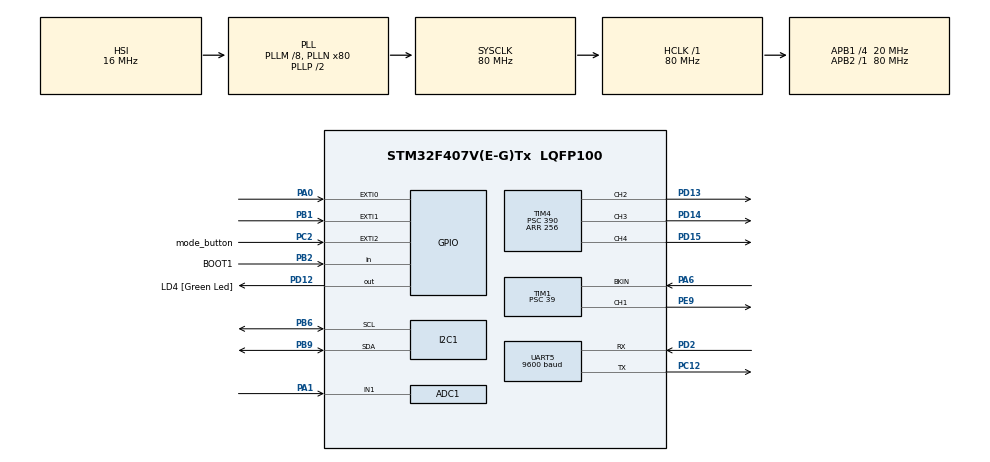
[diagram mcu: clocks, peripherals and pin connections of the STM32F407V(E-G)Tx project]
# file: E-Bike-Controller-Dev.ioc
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ADC1.Channel-0\#ChannelRegularConversion=ADC_CHANNEL_1
ADC1.NbrOfConversionFlag=1
ADC1.Rank-0\#ChannelRegularConversion=1
ADC1.SamplingTime-0\#ChannelRegularConversion=ADC_SAMPLETIME_3CYCLES
ADC1.master=1
Dma.ADC1.2.Direction=DMA_PERIPH_TO_MEMORY
Dma.ADC1.2.FIFOMode=DMA_FIFOMODE_DISABLE
Dma.ADC1.2.Instance=DMA2_Stream0
Dma.ADC1.2.MemDataAlignment=DMA_MDATAALIGN_HALFWORD
Dma.ADC1.2.MemInc=DMA_MINC_ENABLE
Dma.ADC1.2.Mode=DMA_NORMAL
Dma.ADC1.2.PeriphDataAlignment=DMA_PDATAALIGN_HALFWORD
Dma.ADC1.2.PeriphInc=DMA_PINC_DISABLE
Dma.ADC1.2.Priority=DMA_PRIORITY_LOW
Dma.Request0=UART5_RX
Dma.Request1=UART5_TX
Dma.Request2=ADC1
Dma.UART5_RX.0.Direction=DMA_PERIPH_TO_MEMORY
Dma.UART5_RX.0.FIFOMode=DMA_FIFOMODE_DISABLE
Dma.UART5_RX.0.Instance=DMA1_Stream0
Dma.UART5_RX.0.MemDataAlignment=DMA_MDATAALIGN_BYTE
Dma.UART5_RX.0.MemInc=DMA_MINC_ENABLE
Dma.UART5_RX.0.Mode=DMA_NORMAL
Dma.UART5_RX.0.PeriphDataAlignment=DMA_PDATAALIGN_BYTE
Dma.UART5_RX.0.PeriphInc=DMA_PINC_DISABLE
Dma.UART5_RX.0.Priority=DMA_PRIORITY_LOW
Dma.UART5_TX.1.Direction=DMA_MEMORY_TO_PERIPH
Dma.UART5_TX.1.FIFOMode=DMA_FIFOMODE_DISABLE
Dma.UART5_TX.1.Instance=DMA1_Stream7
Dma.UART5_TX.1.MemDataAlignment=DMA_MDATAALIGN_BYTE
Dma.UART5_TX.1.MemInc=DMA_MINC_ENABLE
Dma.UART5_TX.1.Mode=DMA_NORMAL
Dma.UART5_TX.1.PeriphDataAlignment=DMA_PDATAALIGN_BYTE
Dma.UART5_TX.1.PeriphInc=DMA_PINC_DISABLE
Dma.UART5_TX.1.Priority=DMA_PRIORITY_LOW
FREERTOS.Tasks01=Task1,32,128,IMU_Batter,Default,NULL,Dynamic,NULL,NULL;Task2,48,128,ThrottleADC,Default,NULL,Dynamic,NULL,NULL;Task3,24,128,LED_Control,Default,NULL,Dynamic,NULL,NULL;Task04,40,128,WriteBluetooth,Default,NULL,Dynamic,NULL,NULL
Mcu.Family=STM32F4
Mcu.Name=STM32F407V(E-G)Tx
Mcu.Package=LQFP100
NVIC.DMA1_Stream0_IRQn=true\:5\:0\:false\:false\:true\:true\:false\:true\:true
NVIC.DMA1_Stream7_IRQn=true\:5\:0\:false\:false\:true\:true\:false\:true\:true
NVIC.DMA2_Stream0_IRQn=true\:5\:0\:false\:false\:true\:true\:false\:true\:true
NVIC.EXTI0_IRQn=true\:5\:0\:false\:false\:true\:true\:true\:true\:true
NVIC.EXTI1_IRQn=true\:5\:0\:false\:false\:true\:true\:true\:true\:true
NVIC.EXTI2_IRQn=true\:5\:0\:false\:false\:true\:true\:true\:true\:true
NVIC.PriorityGroup=NVIC_PRIORITYGROUP_4
NVIC.TIM1_BRK_TIM9_IRQn=true\:5\:0\:false\:false\:true\:true\:true\:true\:true
NVIC.TIM1_CC_IRQn=true\:5\:0\:false\:false\:true\:true\:true\:true\:true
NVIC.TIM4_IRQn=true\:5\:0\:false\:false\:true\:true\:true\:true\:true
NVIC.TIM6_DAC_IRQn=true\:15\:0\:false\:false\:true\:false\:false\:true\:true
NVIC.TimeBase=TIM6_DAC_IRQn
NVIC.TimeBaseIP=TIM6
NVIC.UART5_IRQn=true\:5\:0\:false\:false\:true\:true\:true\:true\:true
PA0-WKUP.Signal=GPXTI0
PA1.Signal=ADCx_IN1
PA13.GPIO_Label=SWDIO
PA13.Mode=Serial_Wire
PA13.Signal=SYS_JTMS-SWDIO
PA14.GPIO_Label=SWCLK
PA14.Mode=Serial_Wire
PA14.Signal=SYS_JTCK-SWCLK
PA6.GPIO_PuPd=GPIO_NOPULL
PA6.Mode=Activate-Break-Input
PA6.Signal=TIM1_BKIN
PB1.GPIO_ModeDefaultEXTI=GPIO_MODE_IT_FALLING
PB1.Signal=GPXTI1
PB10.GPIO_Label=CLK_IN [MP45DT02_CLK]
PB10.GPIO_Mode=GPIO_MODE_AF_PP
PB10.GPIO_PuPd=GPIO_NOPULL
PB10.GPIO_Speed=GPIO_SPEED_FREQ_LOW
PB10.Signal=I2S2_CK
PB2.GPIO_Label=BOOT1
PB2.GPIO_Mode=GPIO_MODE_INPUT
PB2.GPIO_PuPd=GPIO_NOPULL
PB2.Signal=GPIO_Input
PB6.GPIO_Mode=GPIO_MODE_AF_OD
PB6.GPIO_Pu=GPIO_NOPULL
PB6.GPIO_PuPd=GPIO_NOPULL
PB6.GPIO_Speed=GPIO_SPEED_FREQ_VERY_HIGH
PB6.Mode=I2C
PB6.Signal=I2C1_SCL
PB9.GPIO_Mode=GPIO_MODE_AF_OD
PB9.GPIO_Pu=GPIO_NOPULL
PB9.GPIO_PuPd=GPIO_NOPULL
PB9.GPIO_Speed=GPIO_SPEED_FREQ_VERY_HIGH
PB9.Mode=I2C
PB9.Signal=I2C1_SDA
PC12.Mode=Asynchronous
PC12.Signal=UART5_TX
PC14-OSC32_IN.GPIO_Label=PC14-OSC32_IN
PC14-OSC32_IN.Mode=LSE-External-Clock-Source
PC14-OSC32_IN.Signal=RCC_OSC32_IN
PC15-OSC32_OUT.GPIO_Label=PC15-OSC32_OUT
PC15-OSC32_OUT.Mode=LSE-External-Clock-Source
PC15-OSC32_OUT.Signal=RCC_OSC32_OUT
PC2.GPIO_Label=mode_button
PC2.GPIO_PuPd=GPIO_PULLDOWN
PC2.Signal=GPXTI2
PD12.GPIO_Label=LD4 [Green Led]
PD12.GPIO_PuPd=GPIO_NOPULL
PD12.GPIO_Speed=GPIO_SPEED_FREQ_LOW
PD12.Signal=GPIO_Output
PD13.Signal=S_TIM4_CH2
PD14.Signal=S_TIM4_CH3
PD15.Signal=S_TIM4_CH4
PD2.Mode=Asynchronous
PD2.Signal=UART5_RX
PE9.Signal=S_TIM1_CH1
PH0-OSC_IN.GPIO_Label=PH0-OSC_IN
PH0-OSC_IN.Mode=HSE-External-Clock-Source
PH0-OSC_IN.Signal=RCC_OSC_IN
PH1-OSC_OUT.GPIO_Label=PH1-OSC_OUT
PH1-OSC_OUT.Mode=HSE-External-Clock-Source
PH1-OSC_OUT.Signal=RCC_OSC_OUT
ProjectManager.HeapSize=0x200
ProjectManager.StackSize=0x400
ProjectManager.TargetToolchain=STM32CubeIDE
RCC.48MHZClocksFreq_Value=22857142.85714286
RCC.AHBFreq_Value=80000000
RCC.APB1CLKDivider=RCC_HCLK_DIV4
RCC.APB1Freq_Value=20000000
RCC.APB1TimFreq_Value=40000000
RCC.APB2Freq_Value=80000000
RCC.APB2TimFreq_Value=80000000
RCC.CortexFreq_Value=80000000
RCC.HCLKFreq_Value=80000000
RCC.HSE_VALUE=8000000
RCC.HSI_VALUE=16000000
RCC.LSE_VALUE=32768
RCC.PLLM=8
RCC.PLLN=80
RCC.PLLQ=7
RCC.SYSCLKFreq_VALUE=80000000
RCC.SYSCLKSource=RCC_SYSCLKSOURCE_PLLCLK
RCC.VCOOutputFreq_Value=160000000
SH.ADCx_IN1.0=ADC1_IN1,IN1
SH.S_TIM1_CH1.0=TIM1_CH1,PWM Generation1 CH1
SH.S_TIM4_CH2.0=TIM4_CH2,PWM Generation2 CH2
SH.S_TIM4_CH3.0=TIM4_CH3,PWM Generation3 CH3
SH.S_TIM4_CH4.0=TIM4_CH4,PWM Generation4 CH4
TIM1.AutoReloadPreload=TIM_AUTORELOAD_PRELOAD_ENABLE
TIM1.AutomaticOutput=TIM_AUTOMATICOUTPUT_ENABLE
TIM1.BreakPolarity=TIM_BREAKPOLARITY_LOW
TIM1.BreakState=TIM_BREAK_ENABLE
TIM1.Channel-PWM\ Generation1\ CH1=TIM_CHANNEL_1
TIM1.ClockDivision=TIM_CLOCKDIVISION_DIV1
TIM1.OffStateRunMode=TIM_OSSR_DISABLE
TIM1.Period=40960
TIM1.Prescaler=39
TIM1.Pulse-PWM\ Generation1\ CH1=0
TIM4.AutoReloadPreload=TIM_AUTORELOAD_PRELOAD_ENABLE
TIM4.Channel-PWM\ Generation2\ CH2=TIM_CHANNEL_2
TIM4.Channel-PWM\ Generation3\ CH3=TIM_CHANNEL_3
TIM4.Channel-PWM\ Generation4\ CH4=TIM_CHANNEL_4
TIM4.OCMode_PWM-PWM\ Generation4\ CH4=TIM_OCMODE_PWM1
TIM4.Period=256
TIM4.Prescaler=390
TIM4.Pulse-PWM\ Generation4\ CH4=0
UART5.BaudRate=9600
UART5.OverSampling=UART_OVERSAMPLING_8
UART5.VirtualMode=Asynchronous
VP_FREERTOS_VS_CMSIS_V2.Mode=CMSIS_V2
VP_SYS_VS_tim6.Mode=TIM6
VP_TIM1_VS_ClockSourceINT.Mode=Internal
VP_TIM4_VS_ClockSourceINT.Mode=Internal
board=STM32F407G-DISC1

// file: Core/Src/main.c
/* USER CODE BEGIN Header */
/**
  ******************************************************************************
  * @file           : main.c
  * @brief          : Main program body
  ******************************************************************************
  * @attention
  *
  * Copyright (c) 2023 STMicroelectronics.
  * All rights reserved.
  *
  * This software is licensed under terms that can be found in the LICENSE file
  * in the root directory of this software component.
  * If no LICENSE file comes with this software, it is provided AS-IS.
  *
  ******************************************************************************
  */
/* USER CODE END Header */
#include "main.h"
#include "cmsis_os.h"

/* USER CODE BEGIN Includes */
#include <string.h>
//#include <stdio.h>
/* USER CODE END Includes */

ADC_HandleTypeDef hadc1;
DMA_HandleTypeDef hdma_adc1;

I2C_HandleTypeDef hi2c1;

TIM_HandleTypeDef htim1;
TIM_HandleTypeDef htim4;

UART_HandleTypeDef huart5;
DMA_HandleTypeDef hdma_uart5_rx;
DMA_HandleTypeDef hdma_uart5_tx;

/* Definitions for Task1 */
osThreadId_t Task1Handle;
const osThreadAttr_t Task1_attributes = {
  .name = "Task1",
  .stack_size = 128 * 4,
  .priority = (osPriority_t) osPriorityAboveNormal,
};
/* Definitions for Task2 */
osThreadId_t Task2Handle;
const osThreadAttr_t Task2_attributes = {
  .name = "Task2",
  .stack_size = 128 * 4,
  .priority = (osPriority_t) osPriorityRealtime,
};
/* Definitions for Task3 */
osThreadId_t Task3Handle;
const osThreadAttr_t Task3_attributes = {
  .name = "Task3",
  .stack_size = 128 * 4,
  .priority = (osPriority_t) osPriorityNormal,
};
/* Definitions for Task04 */
osThreadId_t Task04Handle;
const osThreadAttr_t Task04_attributes = {
  .name = "Task04",
  .stack_size = 128 * 4,
  .priority = (osPriority_t) osPriorityHigh,
};

void SystemClock_Config(void);
static void MX_GPIO_Init(void);
static void MX_DMA_Init(void);
static void MX_I2C1_Init(void);
static void MX_UART5_Init(void);
static void MX_TIM4_Init(void);
static void MX_ADC1_Init(void);
static void MX_TIM1_Init(void);
void IMU_Batter(void *argument);
void ThrottleADC(void *argument);
void LED_Control(void *argument);
void WriteBluetooth(void *argument);

/* USER CODE BEGIN 0 */

// IMU addresses
//static const uint8_t IMU_ADDR = 0x4A << 1;

// Bluetooth variables
uint8_t rx_char;
uint8_t UART4_rxBuffer[20] = {0};
int i = 0;

// Throttle variables
uint16_t throttle;

// Speedometer variables
uint32_t speed = 0;
uint32_t tick = 0;
const float hrs = 2.7777777777778E-7;
const float wheel_circum_miles = (2070/1609344)/6;

// LED variables
uint8_t red = 0;
uint8_t green = 0;
uint8_t blue = 0;
// 0 - 0
// 1 - 85
// 2 - 170
// 3 - 255

// Mode flags
uint8_t mode = 0;
uint8_t mode_changed = 0;
// mode 0 - idle
// mode 1 - throttle
// mode 2 - cruise

void HAL_UART_RxCpltCallback(UART_HandleTypeDef *huart)
{
	if(huart->Instance == huart5.Instance)
	{
		if(rx_char == '\r' || rx_char == '\n')
		{
			HAL_UART_Receive_IT(&huart5, &rx_char, 1);
			return;
		}

		// Retrieve mode and set flag
		uint8_t new_mode = rx_char & 0x03;
		if (new_mode != mode)
		{
			mode = new_mode;
			mode_changed = 1;
		}
//		mode = rx_char & 0x03;

		// Retrieve red
		red = (rx_char >> 6) & 0x03;

		// Retrieve green
		green = (rx_char >> 4) & 0x03;

		// Retrieve blue
		blue = (rx_char >> 2) & 0x03;

//		if(rx_char == '1')
//		{
////			rx_char = '\0';
//			HAL_GPIO_TogglePin(GPIOD, GPIO_PIN_15);
//			HAL_GPIO_TogglePin(GPIOD, GPIO_PIN_14);
//			HAL_GPIO_TogglePin(GPIOD, GPIO_PIN_13);
//			HAL_GPIO_TogglePin(GPIOD, GPIO_PIN_12);
//		}
//		else if (rx_char == '0')
//		{
////			rx_char = '\0';
//			HAL_GPIO_WritePin(GPIOD, GPIO_PIN_15, GPIO_PIN_RESET);
//			memset(UART4_rxBuffer, 0, i);
//			i=0;
//
//		}
//		else if (rx_char == 'a')
//		{
////			rx_char = '\0';
//			HAL_GPIO_TogglePin(GPIOD, GPIO_PIN_15);
//			HAL_GPIO_TogglePin(GPIOD, GPIO_PIN_14);
//			HAL_GPIO_TogglePin(GPIOD, GPIO_PIN_13);
//			HAL_GPIO_TogglePin(GPIOD, GPIO_PIN_12);
//		}
//		else
//		{
//
//		}

		HAL_UART_Receive_IT(&huart5, &rx_char, 1);
	}
}

void HAL_GPIO_EXTI_Callback(uint16_t GPIO_PIN)
{
	if (GPIO_PIN == GPIO_PIN_1)
	{
//		HAL_GPIO_TogglePin(GPIOD, GPIO_PIN_14);
		// Calculate speed
		speed = HAL_GetTick() - tick;
		tick = HAL_GetTick();
	}
	else if (GPIO_PIN == GPIO_PIN_2 || GPIO_PIN == GPIO_PIN_0)
	{
		mode++;
		if (mode == 2)
		{
			mode = 0;
		}
		mode_changed = 1;
	}
	else
	{
		__NOP();
	}
}

uint8_t convert_color(uint8_t color)
{
	switch (color)
	{
		case 0:
			return 0;
		break;
		case 1:
			return 85;
		break;
		case 2:
			return 170;
		break;
		case 3:
			return 255;
		break;
		default:
			return 0;
		break;
	}

	return 0;
}

void mode_change_ack(uint8_t changed_mode)
{
	if (changed_mode == 1)
	{
		__HAL_TIM_SET_COMPARE(&htim4, TIM_CHANNEL_2, 255);
		__HAL_TIM_SET_COMPARE(&htim4, TIM_CHANNEL_3, 255);
		__HAL_TIM_SET_COMPARE(&htim4, TIM_CHANNEL_4, 255);
		osDelay(500);
		__HAL_TIM_SET_COMPARE(&htim4, TIM_CHANNEL_2, 0);
		__HAL_TIM_SET_COMPARE(&htim4, TIM_CHANNEL_3, 0);
		__HAL_TIM_SET_COMPARE(&htim4, TIM_CHANNEL_4, 0);
		osDelay(500);
		__HAL_TIM_SET_COMPARE(&htim4, TIM_CHANNEL_2, 255);
		__HAL_TIM_SET_COMPARE(&htim4, TIM_CHANNEL_3, 255);
		__HAL_TIM_SET_COMPARE(&htim4, TIM_CHANNEL_4, 255);
		osDelay(500);
		__HAL_TIM_SET_COMPARE(&htim4, TIM_CHANNEL_2, 0);
		__HAL_TIM_SET_COMPARE(&htim4, TIM_CHANNEL_3, 0);
		__HAL_TIM_SET_COMPARE(&htim4, TIM_CHANNEL_4, 0);
		osDelay(500);

		mode_changed = 0;
	}
}

/* USER CODE END 0 */

int main(void)
{

  /* MCU Configuration--------------------------------------------------------*/

  /* Reset of all peripherals, Initializes the Flash interface and the Systick. */
  HAL_Init();

  /* Configure the system clock */
  SystemClock_Config();

  /* Initialize all configured peripherals */
  MX_GPIO_Init();
  MX_DMA_Init();
  MX_I2C1_Init();
  MX_UART5_Init();
  MX_TIM4_Init();
  MX_ADC1_Init();
  MX_TIM1_Init();
  /* USER CODE BEGIN 2 */
//  HAL_UART_Receive_DMA(&huart5, UART4_rxBuffer, sizeof(UART4_rxBuffer));
  HAL_UART_Receive_IT(&huart5, &rx_char, 1);

  /* USER CODE END 2 */

  /* Init scheduler */
  osKernelInitialize();

  /* Create the thread(s) */
  /* creation of Task1 */
  Task1Handle = osThreadNew(IMU_Batter, NULL, &Task1_attributes);

  /* creation of Task2 */
  Task2Handle = osThreadNew(ThrottleADC, NULL, &Task2_attributes);

  /* creation of Task3 */
  Task3Handle = osThreadNew(LED_Control, NULL, &Task3_attributes);

  /* creation of Task04 */
  Task04Handle = osThreadNew(WriteBluetooth, NULL, &Task04_attributes);

  /* Start scheduler */
  osKernelStart();
  /* We should never get here as control is now taken by the scheduler */
  /* Infinite loop */
  while (1)
  {

  }
}

void SystemClock_Config(void)
{
  RCC_OscInitTypeDef RCC_OscInitStruct = {0};
  RCC_ClkInitTypeDef RCC_ClkInitStruct = {0};

  /** Configure the main internal regulator output voltage
  */
  __HAL_RCC_PWR_CLK_ENABLE();
  __HAL_PWR_VOLTAGESCALING_CONFIG(PWR_REGULATOR_VOLTAGE_SCALE1);

  /** Initializes the RCC Oscillators according to the specified parameters
  * in the RCC_OscInitTypeDef structure.
  */
  RCC_OscInitStruct.OscillatorType = RCC_OSCILLATORTYPE_HSI;
  RCC_OscInitStruct.HSIState = RCC_HSI_ON;
  RCC_OscInitStruct.HSICalibrationValue = RCC_HSICALIBRATION_DEFAULT;
  RCC_OscInitStruct.PLL.PLLState = RCC_PLL_ON;
  RCC_OscInitStruct.PLL.PLLSource = RCC_PLLSOURCE_HSI;
  RCC_OscInitStruct.PLL.PLLM = 8;
  RCC_OscInitStruct.PLL.PLLN = 80;
  RCC_OscInitStruct.PLL.PLLP = RCC_PLLP_DIV2;
  RCC_OscInitStruct.PLL.PLLQ = 7;
  if (HAL_RCC_OscConfig(&RCC_OscInitStruct) != HAL_OK)
  {
    Error_Handler();
  }

  /** Initializes the CPU, AHB and APB buses clocks
  */
  RCC_ClkInitStruct.ClockType = RCC_CLOCKTYPE_HCLK|RCC_CLOCKTYPE_SYSCLK
                              |RCC_CLOCKTYPE_PCLK1|RCC_CLOCKTYPE_PCLK2;
  RCC_ClkInitStruct.SYSCLKSource = RCC_SYSCLKSOURCE_PLLCLK;
  RCC_ClkInitStruct.AHBCLKDivider = RCC_SYSCLK_DIV1;
  RCC_ClkInitStruct.APB1CLKDivider = RCC_HCLK_DIV4;
  RCC_ClkInitStruct.APB2CLKDivider = RCC_HCLK_DIV1;

  if (HAL_RCC_ClockConfig(&RCC_ClkInitStruct, FLASH_LATENCY_2) != HAL_OK)
  {
    Error_Handler();
  }
}

static void MX_ADC1_Init(void)
{

  ADC_ChannelConfTypeDef sConfig = {0};

  /** Configure the global features of the ADC (Clock, Resolution, Data Alignment and number of conversion)
  */
  hadc1.Instance = ADC1;
  hadc1.Init.ClockPrescaler = ADC_CLOCK_SYNC_PCLK_DIV4;
  hadc1.Init.Resolution = ADC_RESOLUTION_12B;
  hadc1.Init.ScanConvMode = DISABLE;
  hadc1.Init.ContinuousConvMode = DISABLE;
  hadc1.Init.DiscontinuousConvMode = DISABLE;
  hadc1.Init.ExternalTrigConvEdge = ADC_EXTERNALTRIGCONVEDGE_NONE;
  hadc1.Init.ExternalTrigConv = ADC_SOFTWARE_START;
  hadc1.Init.DataAlign = ADC_DATAALIGN_RIGHT;
  hadc1.Init.NbrOfConversion = 1;
  hadc1.Init.DMAContinuousRequests = DISABLE;
  hadc1.Init.EOCSelection = ADC_EOC_SINGLE_CONV;
  if (HAL_ADC_Init(&hadc1) != HAL_OK)
  {
    Error_Handler();
  }

  /** Configure for the selected ADC regular channel its corresponding rank in the sequencer and its sample time.
  */
  sConfig.Channel = ADC_CHANNEL_1;
  sConfig.Rank = 1;
  sConfig.SamplingTime = ADC_SAMPLETIME_3CYCLES;
  if (HAL_ADC_ConfigChannel(&hadc1, &sConfig) != HAL_OK)
  {
    Error_Handler();
  }

}

static void MX_I2C1_Init(void)
{

  hi2c1.Instance = I2C1;
  hi2c1.Init.ClockSpeed = 100000;
  hi2c1.Init.DutyCycle = I2C_DUTYCYCLE_2;
  hi2c1.Init.OwnAddress1 = 0;
  hi2c1.Init.AddressingMode = I2C_ADDRESSINGMODE_7BIT;
  hi2c1.Init.DualAddressMode = I2C_DUALADDRESS_DISABLE;
  hi2c1.Init.OwnAddress2 = 0;
  hi2c1.Init.GeneralCallMode = I2C_GENERALCALL_DISABLE;
  hi2c1.Init.NoStretchMode = I2C_NOSTRETCH_DISABLE;
  if (HAL_I2C_Init(&hi2c1) != HAL_OK)
  {
    Error_Handler();
  }

}

static void MX_TIM1_Init(void)
{

  TIM_ClockConfigTypeDef sClockSourceConfig = {0};
  TIM_MasterConfigTypeDef sMasterConfig = {0};
  TIM_OC_InitTypeDef sConfigOC = {0};
  TIM_BreakDeadTimeConfigTypeDef sBreakDeadTimeConfig = {0};

  htim1.Instance = TIM1;
  htim1.Init.Prescaler = 39;
  htim1.Init.CounterMode = TIM_COUNTERMODE_UP;
  htim1.Init.Period = 40960;
  htim1.Init.ClockDivision = TIM_CLOCKDIVISION_DIV1;
  htim1.Init.RepetitionCounter = 0;
  htim1.Init.AutoReloadPreload = TIM_AUTORELOAD_PRELOAD_ENABLE;
  if (HAL_TIM_Base_Init(&htim1) != HAL_OK)
  {
    Error_Handler();
  }
  sClockSourceConfig.ClockSource = TIM_CLOCKSOURCE_INTERNAL;
  if (HAL_TIM_ConfigClockSource(&htim1, &sClockSourceConfig) != HAL_OK)
  {
    Error_Handler();
  }
  if (HAL_TIM_PWM_Init(&htim1) != HAL_OK)
  {
    Error_Handler();
  }
  sMasterConfig.MasterOutputTrigger = TIM_TRGO_RESET;
  sMasterConfig.MasterSlaveMode = TIM_MASTERSLAVEMODE_DISABLE;
  if (HAL_TIMEx_MasterConfigSynchronization(&htim1, &sMasterConfig) != HAL_OK)
  {
    Error_Handler();
  }
  sConfigOC.OCMode = TIM_OCMODE_PWM1;
  sConfigOC.Pulse = 0;
  sConfigOC.OCPolarity = TIM_OCPOLARITY_HIGH;
  sConfigOC.OCNPolarity = TIM_OCNPOLARITY_HIGH;
  sConfigOC.OCFastMode = TIM_OCFAST_DISABLE;
  sConfigOC.OCIdleState = TIM_OCIDLESTATE_RESET;
  sConfigOC.OCNIdleState = TIM_OCNIDLESTATE_RESET;
  if (HAL_TIM_PWM_ConfigChannel(&htim1, &sConfigOC, TIM_CHANNEL_1) != HAL_OK)
  {
    Error_Handler();
  }
  sBreakDeadTimeConfig.OffStateRunMode = TIM_OSSR_DISABLE;
  sBreakDeadTimeConfig.OffStateIDLEMode = TIM_OSSI_DISABLE;
  sBreakDeadTimeConfig.LockLevel = TIM_LOCKLEVEL_OFF;
  sBreakDeadTimeConfig.DeadTime = 0;
  sBreakDeadTimeConfig.BreakState = TIM_BREAK_ENABLE;
  sBreakDeadTimeConfig.BreakPolarity = TIM_BREAKPOLARITY_LOW;
  sBreakDeadTimeConfig.AutomaticOutput = TIM_AUTOMATICOUTPUT_ENABLE;
  if (HAL_TIMEx_ConfigBreakDeadTime(&htim1, &sBreakDeadTimeConfig) != HAL_OK)
  {
    Error_Handler();
  }
  HAL_TIM_MspPostInit(&htim1);

}

static void MX_TIM4_Init(void)
{

  TIM_ClockConfigTypeDef sClockSourceConfig = {0};
  TIM_MasterConfigTypeDef sMasterConfig = {0};
  TIM_OC_InitTypeDef sConfigOC = {0};

  htim4.Instance = TIM4;
  htim4.Init.Prescaler = 390;
  htim4.Init.CounterMode = TIM_COUNTERMODE_UP;
  htim4.Init.Period = 256;
  htim4.Init.ClockDivision = TIM_CLOCKDIVISION_DIV1;
  htim4.Init.AutoReloadPreload = TIM_AUTORELOAD_PRELOAD_ENABLE;
  if (HAL_TIM_Base_Init(&htim4) != HAL_OK)
  {
    Error_Handler();
  }
  sClockSourceConfig.ClockSource = TIM_CLOCKSOURCE_INTERNAL;
  if (HAL_TIM_ConfigClockSource(&htim4, &sClockSourceConfig) != HAL_OK)
  {
    Error_Handler();
  }
  if (HAL_TIM_PWM_Init(&htim4) != HAL_OK)
  {
    Error_Handler();
  }
  sMasterConfig.MasterOutputTrigger = TIM_TRGO_RESET;
  sMasterConfig.MasterSlaveMode = TIM_MASTERSLAVEMODE_DISABLE;
  if (HAL_TIMEx_MasterConfigSynchronization(&htim4, &sMasterConfig) != HAL_OK)
  {
    Error_Handler();
  }
  sConfigOC.OCMode = TIM_OCMODE_PWM1;
  sConfigOC.Pulse = 0;
  sConfigOC.OCPolarity = TIM_OCPOLARITY_HIGH;
  sConfigOC.OCFastMode = TIM_OCFAST_DISABLE;
  if (HAL_TIM_PWM_ConfigChannel(&htim4, &sConfigOC, TIM_CHANNEL_2) != HAL_OK)
  {
    Error_Handler();
  }
  if (HAL_TIM_PWM_ConfigChannel(&htim4, &sConfigOC, TIM_CHANNEL_3) != HAL_OK)
  {
    Error_Handler();
  }
  if (HAL_TIM_PWM_ConfigChannel(&htim4, &sConfigOC, TIM_CHANNEL_4) != HAL_OK)
  {
    Error_Handler();
  }
  HAL_TIM_MspPostInit(&htim4);

}

static void MX_UART5_Init(void)
{

  huart5.Instance = UART5;
  huart5.Init.BaudRate = 9600;
  huart5.Init.WordLength = UART_WORDLENGTH_8B;
  huart5.Init.StopBits = UART_STOPBITS_1;
  huart5.Init.Parity = UART_PARITY_NONE;
  huart5.Init.Mode = UART_MODE_TX_RX;
  huart5.Init.HwFlowCtl = UART_HWCONTROL_NONE;
  huart5.Init.OverSampling = UART_OVERSAMPLING_8;
  if (HAL_UART_Init(&huart5) != HAL_OK)
  {
    Error_Handler();
  }

}

static void MX_DMA_Init(void)
{

  /* DMA controller clock enable */
  __HAL_RCC_DMA1_CLK_ENABLE();
  __HAL_RCC_DMA2_CLK_ENABLE();

  /* DMA interrupt init */
  /* DMA1_Stream0_IRQn interrupt configuration */
  HAL_NVIC_SetPriority(DMA1_Stream0_IRQn, 5, 0);
  HAL_NVIC_EnableIRQ(DMA1_Stream0_IRQn);
  /* DMA1_Stream7_IRQn interrupt configuration */
  HAL_NVIC_SetPriority(DMA1_Stream7_IRQn, 5, 0);
  HAL_NVIC_EnableIRQ(DMA1_Stream7_IRQn);
  /* DMA2_Stream0_IRQn interrupt configuration */
  HAL_NVIC_SetPriority(DMA2_Stream0_IRQn, 5, 0);
  HAL_NVIC_EnableIRQ(DMA2_Stream0_IRQn);

}

static void MX_GPIO_Init(void)
{
  GPIO_InitTypeDef GPIO_InitStruct = {0};

  /* GPIO Ports Clock Enable */
  __HAL_RCC_GPIOC_CLK_ENABLE();
  __HAL_RCC_GPIOH_CLK_ENABLE();
  __HAL_RCC_GPIOA_CLK_ENABLE();
  __HAL_RCC_GPIOB_CLK_ENABLE();
  __HAL_RCC_GPIOE_CLK_ENABLE();
  __HAL_RCC_GPIOD_CLK_ENABLE();

  /*Configure GPIO pin Output Level */
  HAL_GPIO_WritePin(LD4_GPIO_Port, LD4_Pin, GPIO_PIN_RESET);

  /*Configure GPIO pin : mode_button_Pin */
  GPIO_InitStruct.Pin = mode_button_Pin;
  GPIO_InitStruct.Mode = GPIO_MODE_IT_RISING;
  GPIO_InitStruct.Pull = GPIO_PULLDOWN;
  HAL_GPIO_Init(mode_button_GPIO_Port, &GPIO_InitStruct);

  /*Configure GPIO pin : PA0 */
  GPIO_InitStruct.Pin = GPIO_PIN_0;
  GPIO_InitStruct.Mode = GPIO_MODE_IT_RISING;
  GPIO_InitStruct.Pull = GPIO_NOPULL;
  HAL_GPIO_Init(GPIOA, &GPIO_InitStruct);

  /*Configure GPIO pin : PB1 */
  GPIO_InitStruct.Pin = GPIO_PIN_1;
  GPIO_InitStruct.Mode = GPIO_MODE_IT_FALLING;
  GPIO_InitStruct.Pull = GPIO_NOPULL;
  HAL_GPIO_Init(GPIOB, &GPIO_InitStruct);

  /*Configure GPIO pin : BOOT1_Pin */
  GPIO_InitStruct.Pin = BOOT1_Pin;
  GPIO_InitStruct.Mode = GPIO_MODE_INPUT;
  GPIO_InitStruct.Pull = GPIO_NOPULL;
  HAL_GPIO_Init(BOOT1_GPIO_Port, &GPIO_InitStruct);

  /*Configure GPIO pin : CLK_IN_Pin */
  GPIO_InitStruct.Pin = CLK_IN_Pin;
  GPIO_InitStruct.Mode = GPIO_MODE_AF_PP;
  GPIO_InitStruct.Pull = GPIO_NOPULL;
  GPIO_InitStruct.Speed = GPIO_SPEED_FREQ_LOW;
  GPIO_InitStruct.Alternate = GPIO_AF5_SPI2;
  HAL_GPIO_Init(CLK_IN_GPIO_Port, &GPIO_InitStruct);

  /*Configure GPIO pin : LD4_Pin */
  GPIO_InitStruct.Pin = LD4_Pin;
  GPIO_InitStruct.Mode = GPIO_MODE_OUTPUT_PP;
  GPIO_InitStruct.Pull = GPIO_NOPULL;
  GPIO_InitStruct.Speed = GPIO_SPEED_FREQ_LOW;
  HAL_GPIO_Init(LD4_GPIO_Port, &GPIO_InitStruct);

  /* EXTI interrupt init*/
  HAL_NVIC_SetPriority(EXTI0_IRQn, 5, 0);
  HAL_NVIC_EnableIRQ(EXTI0_IRQn);

  HAL_NVIC_SetPriority(EXTI1_IRQn, 5, 0);
  HAL_NVIC_EnableIRQ(EXTI1_IRQn);

  HAL_NVIC_SetPriority(EXTI2_IRQn, 5, 0);
  HAL_NVIC_EnableIRQ(EXTI2_IRQn);

}

void IMU_Batter(void *argument)
{
  /* USER CODE BEGIN 5 */

//	shtpData[0] = 0xF9;
//	shtpData[1] = 0;
//
//	sendPacket(2, 2);
//	receivePacket();

	/* Infinite loop */
	for(;;)
	{
		HAL_GPIO_TogglePin(GPIOD, GPIO_PIN_12);

//			strcpy((char*)buf, "A OK\r\n");
//			HAL_UART_Transmit(&huart5, (uint8_t*)buf, strlen(buf), HAL_MAX_DELAY);

//		shtpData[0] = 0x02;
//		shtpData[1] = 0x00;
//		sendPacket(5, 2);
//		receivePacket();

//		uint8_t dataBuffer[20] = {0x06, 0x00, 0x02, 0x00, 0xF9, 0x00};
//		HAL_I2C_Master_Transmit(&hi2c1, IMU_ADDR, dataBuffer, 6, HAL_MAX_DELAY);
//
////		buf[0] = 0x01 << 1;
//		HAL_I2C_Master_Receive(&hi2c1, IMU_ADDR, recv, 4, HAL_MAX_DELAY);
//		HAL_UART_Transmit(&huart5, (uint8_t*)buf, strlen(buf), HAL_MAX_DELAY);
		osDelay(1000);
	}

  // In case we accidentally exit loop
  osThreadTerminate(NULL);
  /* USER CODE END 5 */
}

void ThrottleADC(void *argument)
{
  /* USER CODE BEGIN ThrottleADC */
	uint16_t raw;
	int32_t CH1_DC = 0;
//	char msg[10];
	int output_end = 4095;
	int output_start = 100;
	int input_end = 3120;
	int input_start = 1180;
//	HAL_TIM_PWM_Start(&htim4, TIM_CHANNEL_4);
//	HAL_TIM_PWM_Start(&htim1, TIM_CHANNEL_1);
	HAL_TIM_PWM_Stop(&htim1, TIM_CHANNEL_1);
	  for(;;)
	  {

		  // Idle mode
		  if (mode == 0)
		  {
			  if(mode_changed == 1)
			  {
				  HAL_TIM_PWM_Stop(&htim1, TIM_CHANNEL_1);
			  }
			  mode_change_ack(mode_changed);
		  }
		  // Throttle mode
		  else if (mode == 1)
		  {
			  if(mode_changed == 1)
			  {
				  HAL_TIM_PWM_Start(&htim1, TIM_CHANNEL_1);
			  }
			  mode_change_ack(mode_changed);
		  }

		  // Set pin high
//			  HAL_GPIO_WritePin(GPIOD, GPIO_PIN_13, GPIO_PIN_SET);

		  // Get ADC values
		  HAL_ADC_Start(&hadc1);
		  HAL_ADC_PollForConversion(&hadc1, HAL_MAX_DELAY);
		  raw = HAL_ADC_GetValue(&hadc1);

		  double slope = 1.0 * (output_end - output_start) / (input_end - input_start);
		  throttle = output_start + slope * (raw - input_start);
//		  throttle = raw;

		  CH1_DC = throttle;
		  // set pin low
//			  HAL_GPIO_WritePin(GPIOD, GPIO_PIN_13, GPIO_PIN_RESET);

		  // Set analog to output
		  __HAL_TIM_SET_COMPARE(&htim1, TIM_CHANNEL_1, CH1_DC);

		  // convert to string and print
//		  sprintf(msg, "%hu\r\n", raw);
//		  HAL_UART_Transmit(&huart5, (uint8_t*)msg, strlen(msg), HAL_MAX_DELAY);
		  osDelay(500);
	  }

	  // In case we accidentally exit loop
	  osThreadTerminate(NULL);
  /* USER CODE END ThrottleADC */
}

void LED_Control(void *argument)
{
  /* USER CODE BEGIN LED_Control */

	uint8_t PWM_red = 0;
	uint8_t PWM_green = 0;
	uint8_t PWM_blue = 0;

	//	HAL_TIM_PWM_Start(&htim1, TIM_CHANNEL_1);
	HAL_TIM_PWM_Start(&htim4, TIM_CHANNEL_2);
	HAL_TIM_PWM_Start(&htim4, TIM_CHANNEL_3);
	HAL_TIM_PWM_Start(&htim4, TIM_CHANNEL_4);

	/* Infinite loop */
	for(;;)
	{
		PWM_red = convert_color(red);
		PWM_green = convert_color(green);
		PWM_blue = convert_color(blue);

//		TIM4->CCR4 = CH4_DC;
//		__HAL_TIM_SET_COMPARE(&htim1, TIM_CHANNEL_1, CH4_DC);
		__HAL_TIM_SET_COMPARE(&htim4, TIM_CHANNEL_2, PWM_red);
		__HAL_TIM_SET_COMPARE(&htim4, TIM_CHANNEL_3, PWM_green);
		__HAL_TIM_SET_COMPARE(&htim4, TIM_CHANNEL_4, PWM_blue);

		osDelay(1000);
	}

	// In case we accidentally exit loop
	osThreadTerminate(NULL);
  /* USER CODE END LED_Control */
}

void WriteBluetooth(void *argument)
{
  /* USER CODE BEGIN WriteBluetooth */
	//	uint8_t Test[20] = "Hello World !!!\n";
	//	uint8_t Rece[20];
	uint8_t buffer[40];
//	uint16_t speed = 0;
	uint16_t batt = 50;
//	uint16_t raw;

	uint32_t test_speed = 814;

	  /* Infinite loop */
		  for(;;)
		  {
	//	    HAL_GPIO_TogglePin(GPIOD, GPIO_PIN_15);
	//	    osDelay(250);

	//	    HAL_UART_Transmit(&huart5, Test, sizeof(Test), 10)
	//	    if (HAL_UART_Transmit_IT(&huart5, Test, sizeof(Test)) == HAL_OK)
//			float wheel_speed = ((wheel_circum_miles)/6)/((float)speed*hrs);
//			float wheel_speed = (771.74302075876)/((float)speed);
//			float wheel_speed = (814.2)/((float)speed);
//			double wheel_speed = 12.11111111111;
//			sprintf(buffer, "speed:%u\n", speed);
//			sprintf(buffer, "speed:%02.2f\n", wheel_speed);
//			sprintf(buffer, "speed:%02.2f,mode:%hu\n", wheel_speed, mode);
//			sprintf(buffer, "mode:%hu,red:%hu,green:%hu,blue:%hu\n", mode, red, green, blue);
			sprintf(buffer, "mode:%hu,speed:%u\n", mode, speed);
//			sprintf(buffer, "speed:%f,battery:%hu,input:%hi\n", speed, batt, throttle);
//			sprintf(buffer, "speed:%hu,battery:%hu", speed, batt);
//			if (HAL_UART_Transmit(&huart5, (uint8_t*)buffer, strlen(buffer), HAL_MAX_DELAY) == HAL_OK)
			if (HAL_UART_Transmit(&huart5, (uint8_t*)buffer, strlen(buffer), HAL_MAX_DELAY) == HAL_OK)
			{
				osDelay(100);
				sprintf(buffer, "throttle:%hu\n", throttle);
				HAL_UART_Transmit(&huart5, (uint8_t*)buffer, strlen(buffer), HAL_MAX_DELAY);
//				osDelay(100);
//				sprintf(buffer, "speed:%u\n", test_speed);
//				HAL_UART_Transmit(&huart5, (uint8_t*)buffer, strlen(buffer), HAL_MAX_DELAY);
				HAL_GPIO_WritePin(GPIOD, GPIO_PIN_15, GPIO_PIN_SET);
			}
//		    if (HAL_UART_Transmit(&huart5, Test, sizeof(Test), HAL_MAX_DELAY) == HAL_OK)
//		    {
//		    	HAL_GPIO_WritePin(GPIOD, GPIO_PIN_15, GPIO_PIN_SET);
//		    }
	//	    else if (HAL_UART_Transmit_IT(&huart5, Test, sizeof(Test)) == HAL_ERROR)
		    else
		    {
		    	HAL_GPIO_WritePin(GPIOD, GPIO_PIN_15, GPIO_PIN_SET);
		    	HAL_GPIO_WritePin(GPIOD, GPIO_PIN_14, GPIO_PIN_SET);
		    	HAL_GPIO_WritePin(GPIOD, GPIO_PIN_13, GPIO_PIN_SET);
		    	HAL_GPIO_WritePin(GPIOD, GPIO_PIN_12, GPIO_PIN_SET);
		    }
		    osDelay(100);

		    if (UART4_rxBuffer[0] == '\n')
		    {
		    	HAL_GPIO_WritePin(GPIOD, GPIO_PIN_15, GPIO_PIN_SET);
		    	HAL_GPIO_WritePin(GPIOD, GPIO_PIN_14, GPIO_PIN_SET);
		    	HAL_GPIO_WritePin(GPIOD, GPIO_PIN_13, GPIO_PIN_SET);
		    	HAL_GPIO_WritePin(GPIOD, GPIO_PIN_12, GPIO_PIN_SET);
		    	osDelay(5000);
	//	    	memset(UART4_rxBuffer, '\0', sizeof(UART4_rxBuffer));
		    }

	//	    while(HAL_UART_Receive(&huart5, Rece, sizeof(Rece), HAL_MAX_DELAY) == HAL_OK)
	//	    {
	//	    	HAL_GPIO_WritePin(GPIOD, GPIO_PIN_15, GPIO_PIN_RESET);
	//	    	memcpy(&Test, &Rece, sizeof(Test));
	//	    }
//			osDelay(10);
		    batt++;
		    if(batt > 100)
		    	batt = 0;
		    test_speed -= 10;
		    if(test_speed < 10)
		    	test_speed = 814;
		  }

		  // In case we accidentally exit loop
		  osThreadTerminate(NULL);

  /* USER CODE END WriteBluetooth */
}

void HAL_TIM_PeriodElapsedCallback(TIM_HandleTypeDef *htim)
{
  if (htim->Instance == TIM6) {
    HAL_IncTick();
  }
}

void Error_Handler(void)
{
  __disable_irq();
  while (1)
  {
  }
}
